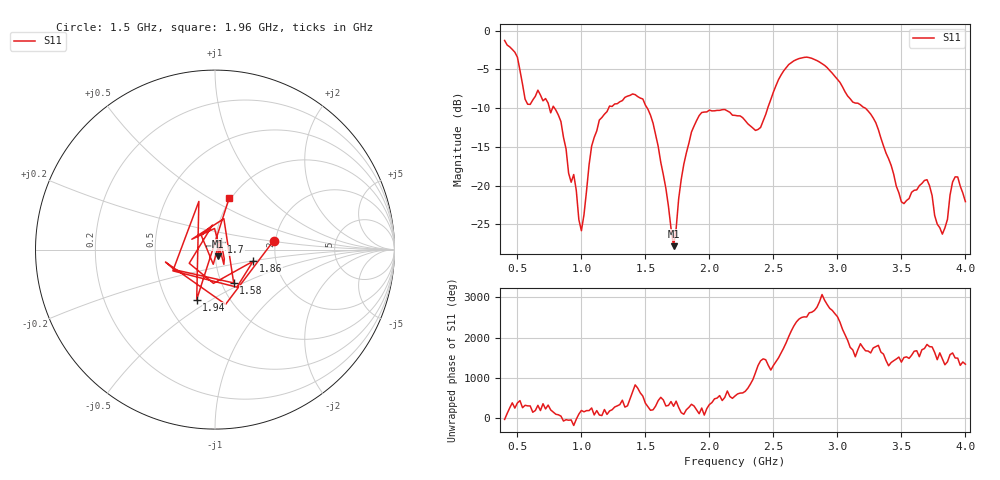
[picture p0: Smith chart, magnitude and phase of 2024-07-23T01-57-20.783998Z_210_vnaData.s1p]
!Created with skrf (http://scikit-rf.org).
# Hz S RI R 50.0
!freq ReS11 ImS11
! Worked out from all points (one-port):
!   181 points, 400 MHz to 4 GHz, reference 50 ohm
!   lowest |S11| = -27.8 dB at 1.72 GHz (marker M1), VSWR 1.08, Z = 51.5 - j3.83 ohm
!   |S11| at or under -10 dB: 790.1 MHz to 1.213 GHz (422.5 MHz wide, 42.2 % of centre); 1.514 GHz to 2.456 GHz (941.4 MHz wide, 47.4 % of centre); 3.218 GHz to end of sweep (the widest 3 of 4)
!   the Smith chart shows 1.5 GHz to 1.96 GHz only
!   S11 on the Smith chart (normalised r, x): 1.5 GHz: 1.95, +0.22; 1.58 GHz: 1.14, -0.44; 1.7 GHz: 1.07, +0.09; 1.86 GHz: 1.52, -0.21; 1.94 GHz: 0.71, -0.43; 1.96 GHz: 0.98, +0.62
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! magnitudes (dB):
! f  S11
! 400 MHz  -1.3
! 500 MHz  -3.4
! 580 MHz  -9.5
! 660 MHz  -7.7
! 860 MHz  -13.8
! 1 GHz  -25.8
! 1.08 GHz  -14.9
! 1.14 GHz  -11.5
! 1.3 GHz  -9.2
! 1.5 GHz  -9.6
! 1.58 GHz  -13.4
! 1.7 GHz  -25.5
! 1.72 GHz  -27.8
! 1.76 GHz  -21.7
! 1.86 GHz  -13.1
! 1.94 GHz  -10.6
! 1.96 GHz  -10.5
! 2.2 GHz  -10.9
! 2.4 GHz  -12.5
! 2.66 GHz  -3.9
! 3.1 GHz  -8.8
! 3.28 GHz  -11.3
! 3.5 GHz  -22.1
! 3.56 GHz  -21.7
! 3.7 GHz  -19.2
! 3.82 GHz  -26.3
! 3.92 GHz  -18.9
! 4 GHz  -22.1
